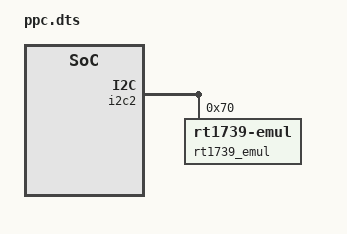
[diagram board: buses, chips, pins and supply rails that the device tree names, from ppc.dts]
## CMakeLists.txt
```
# Copyright 2023 The ChromiumOS Authors
# Use of this source code is governed by a BSD-style license that can be
# found in the LICENSE file.

# Add source files
target_sources(app PRIVATE src/ppc.c)
```

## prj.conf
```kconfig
# Copyright 2023 The ChromiumOS Authors
# Use of this source code is governed by a BSD-style license that can be
# found in the LICENSE file.

CONFIG_PLATFORM_EC_USB_PD_VBUS_DETECT_PPC=y
```

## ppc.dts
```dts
/* Copyright 2023 The ChromiumOS Authors
 * Use of this source code is governed by a BSD-style license that can be
 * found in the LICENSE file.
 */

/ {
	usbc {
		port0@0 {
			compatible = "named-usbc-port";
			bc12 = <&rt1739_emul>;
			ppc = <&rt1739_emul>;
		};
	};
};

&i2c2 {
	status="okay";

	rt1739_emul: rt1739@70 {
		compatible = "zephyr,rt1739-emul", "richtek,rt1739-ppc";
		status = "okay";
		reg = <0x70>;
	};
};
```

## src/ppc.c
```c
/* Copyright 2023 The ChromiumOS Authors
 * Use of this source code is governed by a BSD-style license that can be
 * found in the LICENSE file.
 */

#include "driver/ppc/rt1739.h"
#include "emul/emul_rt1739.h"
#include "test/drivers/test_state.h"

#include <zephyr/fff.h>
#include <zephyr/ztest.h>

FAKE_VOID_FUNC(pd_got_frs_signal, int);

#define FFF_FAKES_LIST(FAKE) FAKE(pd_got_frs_signal)

#define RT1739_PORT 0
#define RT1739_NODE DT_NODELABEL(rt1739_emul)

extern int rt1739_get_flag(int port);

const struct emul *rt1739_emul = EMUL_DT_GET(RT1739_NODE);

static struct rt1739_set_reg_entry_t *
get_next_reg_set_entry(struct _snode **iter_node, uint8_t target_reg)
{
	struct rt1739_set_reg_entry_t *iter_entry = NULL;

	while (iter_node != NULL) {
		iter_entry = SYS_SLIST_CONTAINER(*iter_node, iter_entry, node);
		if (iter_entry->reg == target_reg) {
			return iter_entry;
		}
		*iter_node = (*iter_node)->next;
	}
	return NULL;
}

static void test_next_set_entry(struct _snode **iter_node,
				uint8_t expected_reg_address,
				uint8_t expected_val)
{
	struct rt1739_set_reg_entry_t *entry = NULL;

	*iter_node = (*iter_node)->next;
	zassert_not_null(*iter_node);

	entry = SYS_SLIST_CONTAINER(*iter_node, entry, node);
	zassert_equal(entry->reg, expected_reg_address);
	zassert_equal(entry->val, expected_val);
}

static void test_frs_enable_reg_settings(bool expected_enabled)
{
	uint8_t frs_ctrl1_val, int_mask5_val, int_mask4_val;

	zassert_ok(rt1739_emul_peek_reg(rt1739_emul, RT1739_REG_CC_FRS_CTRL1,
					&frs_ctrl1_val));
	zassert_ok(rt1739_emul_peek_reg(rt1739_emul, RT1739_REG_INT_MASK5,
					&int_mask5_val));
	zassert_ok(rt1739_emul_peek_reg(rt1739_emul, RT1739_REG_INT_MASK4,
					&int_mask4_val));

	if (expected_enabled) {
		zassert_true(frs_ctrl1_val & RT1739_FRS_RX_EN);
		zassert_false(int_mask5_val & RT1739_BC12_SNK_DONE_MASK);
		zassert_true(int_mask4_val & RT1739_FRS_RX_MASK);
	} else {
		zassert_false(frs_ctrl1_val & RT1739_FRS_RX_EN);
		zassert_true(int_mask5_val & RT1739_BC12_SNK_DONE_MASK);
		zassert_false(int_mask4_val & RT1739_FRS_RX_MASK);
	}
}

static void test_vconn_enable_reg_settings(bool expected_enabled)
{
	uint8_t val;

	zassert_ok(rt1739_emul_peek_reg(rt1739_emul, RT1739_REG_VCONN_CTRL1,
					&val));

	if (expected_enabled) {
		zassert_true(val & RT1739_VCONN_EN);
	} else {
		zassert_false(val & RT1739_VCONN_EN);
	}
}

static void test_polarity_reg_settings(int expected_polarity)
{
	uint8_t val;

	zassert_ok(rt1739_emul_peek_reg(rt1739_emul, RT1739_REG_VCONN_CTRL1,
					&val));

	if (expected_polarity) {
		zassert_true(val & RT1739_VCONN_ORIENT);
	} else {
		zassert_false(val & RT1739_VCONN_ORIENT);
	}
}

static void test_set_vbus_source_current_limit(enum tcpc_rp_value expected_rp)
{
	uint8_t val;

	zassert_ok(rt1739_emul_peek_reg(rt1739_emul, RT1739_REG_VBUS_OC_SETTING,
					&val));

	switch (expected_rp) {
	case TYPEC_RP_3A0:
		zassert_equal(val & RT1739_LV_SRC_OCP_MASK,
			      RT1739_LV_SRC_OCP_SEL_3_3A);
		break;
	case TYPEC_RP_1A5:
		zassert_equal(val & RT1739_LV_SRC_OCP_MASK,
			      RT1739_LV_SRC_OCP_SEL_1_75A);
		break;
	default:
		zassert_equal(val & RT1739_LV_SRC_OCP_MASK,
			      RT1739_LV_SRC_OCP_SEL_1_25A);
		break;
	}
}

static void test_vbus_source_enable_reg_settings(bool expected_enabled)
{
	uint8_t val;

	zassert_ok(rt1739_emul_peek_reg(rt1739_emul,
					RT1739_REG_VBUS_SWITCH_CTRL, &val));

	if (expected_enabled) {
		zassert_true(val & RT1739_LV_SRC_EN);
	} else {
		zassert_false(val & RT1739_LV_SRC_EN);
	}
}

static void rt1739_test_before(void *data)
{
	FFF_FAKES_LIST(RESET_FAKE);
	FFF_RESET_HISTORY();
}

static void test_vbus_sink_enable_reg_settings(bool expected_enabled)
{
	uint8_t val;

	zassert_ok(rt1739_emul_peek_reg(rt1739_emul,
					RT1739_REG_VBUS_SWITCH_CTRL, &val));

	if (expected_enabled) {
		zassert_true(val & RT1739_HV_SNK_EN);
	} else {
		zassert_false(val & RT1739_HV_SNK_EN);
	}
}

ZTEST_SUITE(rt1739_ppc, drivers_predicate_pre_main, NULL, rt1739_test_before,
	    NULL, NULL);

ZTEST(rt1739_ppc, test_init_common_settings)
{
	uint8_t val;

	rt1739_emul_write_reg(rt1739_emul, RT1739_REG_DEVICE_ID0,
			      RT1739_DEVICE_ID_ES4);

	rt1739_ppc_drv.init(RT1739_PORT);

	/* Check is frs is set to disabled */
	test_frs_enable_reg_settings(false);

	/* vconn is set to disabled */
	test_vconn_enable_reg_settings(false);

	zassert_ok(rt1739_emul_peek_reg(rt1739_emul, RT1739_REG_VBUS_DET_EN,
					&val));
	zassert_true(val & RT1739_VBUS_PRESENT_EN);

	zassert_ok(rt1739_emul_peek_reg(rt1739_emul, RT1739_REG_SBU_CTRL_01,
					&val));
	zassert_equal(val & (RT1739_DM_SWEN | RT1739_DP_SWEN |
			     RT1739_SBUSW_MUX_SEL),
		      RT1739_DM_SWEN | RT1739_DP_SWEN);

	/* Check is VBUS OVP set to 23V */
	zassert_ok(rt1739_emul_peek_reg(rt1739_emul, RT1739_REG_VBUS_OV_SETTING,
					&val));
	zassert_equal(val, (RT1739_OVP_SEL_23_0V << RT1739_VBUS_OVP_SEL_SHIFT) |
				   (RT1739_OVP_SEL_23_0V
				    << RT1739_VIN_HV_OVP_SEL_SHIFT));

	/* Check is VBUS OCP set to 3.3A */
	zassert_ok(rt1739_emul_peek_reg(rt1739_emul, RT1739_REG_VBUS_OC_SETTING,
					&val));
	zassert_equal(val, RT1739_HV_SINK_OCP_SEL_3_3A |
				   RT1739_OCP_TIMEOUT_SEL_16MS |
				   RT1739_LV_SRC_OCP_SEL_1_75A);
}

ZTEST(rt1739_ppc, test_init_with_dead_battery)
{
	struct _snode *iter_node = NULL;
	struct rt1739_set_reg_entry_t *set_sys_ctrl = NULL;
	struct rt1739_set_reg_entry_t *set_vbus_switch_ctrl = NULL;

	rt1739_emul_write_reg(rt1739_emul, RT1739_REG_SYS_CTRL,
			      RT1739_DEAD_BATTERY);
	rt1739_emul_reset_set_reg_history(rt1739_emul);

	rt1739_ppc_drv.init(RT1739_PORT);

	/*
	 * Check is dead battery boot settings in b/267412033#comment6 is
	 * applied.
	 */
	iter_node = rt1739_emul_get_reg_set_history_head(rt1739_emul);
	set_sys_ctrl = get_next_reg_set_entry(&iter_node, RT1739_REG_SYS_CTRL);
	zassert_not_null(set_sys_ctrl,
			 "No entry for setting  RT1739_REG_SYS_CTRL");
	zassert_equal(set_sys_ctrl->val,
		      RT1739_DEAD_BATTERY | RT1739_SHUTDOWN_OFF);

	set_vbus_switch_ctrl =
		get_next_reg_set_entry(&iter_node, RT1739_REG_VBUS_SWITCH_CTRL);
	zassert_not_null(set_vbus_switch_ctrl,
			 "No entry for setting RT1739_REG_VBUS_SWITCH_CTRL");
	zassert_true((set_vbus_switch_ctrl->val & RT1739_HV_SNK_EN),
		     "sink not enabled");

	set_sys_ctrl = get_next_reg_set_entry(&iter_node, RT1739_REG_SYS_CTRL);
	zassert_not_null(
		set_sys_ctrl,
		"No entry for setting  RT1739_REG_SYS_CTRL after enabling sink");
	zassert_equal(set_sys_ctrl->val, RT1739_OT_EN | RT1739_SHUTDOWN_OFF);
}

ZTEST(rt1739_ppc, test_init_not_dead_battery)
{
	struct _snode *iter_node = NULL;
	struct rt1739_set_reg_entry_t *set_vbus_switch_ctrl = NULL;

	rt1739_emul_write_reg(rt1739_emul, RT1739_REG_VBUS_SWITCH_CTRL,
			      ~RT1739_HV_SNK_EN);
	rt1739_emul_reset_set_reg_history(rt1739_emul);

	rt1739_ppc_drv.init(RT1739_PORT);

	/*
	 * b/275294155: check is only vbus reset.
	 */
	iter_node = rt1739_emul_get_reg_set_history_head(rt1739_emul);
	set_vbus_switch_ctrl =
		get_next_reg_set_entry(&iter_node, RT1739_REG_VBUS_SWITCH_CTRL);
	zassert_not_null(set_vbus_switch_ctrl,
			 "No entry for setting RT1739_REG_VBUS_SWITCH_CTRL");
	zassert_equal(set_vbus_switch_ctrl->val, 0);
}

ZTEST(rt1739_ppc, test_es1_specific_init)
{
	uint8_t val;

	rt1739_emul_write_reg(rt1739_emul, RT1739_REG_DEVICE_ID0,
			      RT1739_DEVICE_ID_ES1);

	rt1739_ppc_drv.init(RT1739_PORT);

	zassert_ok(
		rt1739_emul_peek_reg(rt1739_emul, RT1739_REG_SYS_CTRL1, &val));
	zassert_true(val & RT1739_OSC640K_FORCE_EN);

	zassert_ok(
		rt1739_emul_peek_reg(rt1739_emul, RT1739_VBUS_FAULT_DIS, &val));
	zassert_equal(val, RT1739_OVP_DISVBUS_EN | RT1739_UVLO_DISVBUS_EN |
				   RT1739_SCP_DISVBUS_EN |
				   RT1739_OCPS_DISVBUS_EN);

	zassert_ok(rt1739_emul_peek_reg(rt1739_emul, RT1739_REG_VCONN_CTRL3,
					&val));
	zassert_true(val & RT1739_VCONN_CLIMIT_EN);
}

ZTEST(rt1739_ppc, test_es2_specific_init)
{
	uint8_t val;
	struct _snode *iter_node = NULL;
	struct rt1739_set_reg_entry_t *hidden_mode_F1 = NULL;
	struct rt1739_set_reg_entry_t *vbus_switch_ctrl = NULL;
	int64_t vbus_switch_previous_set_time;

	rt1739_emul_write_reg(rt1739_emul, RT1739_REG_DEVICE_ID0,
			      RT1739_DEVICE_ID_ES2);
	rt1739_emul_reset_set_reg_history(rt1739_emul);

	rt1739_ppc_drv.init(RT1739_PORT);

	iter_node = rt1739_emul_get_reg_set_history_head(rt1739_emul);

	/* Enter hidden mode with correct sequence */
	hidden_mode_F1 = get_next_reg_set_entry(&iter_node, 0xF1);
	zassert_not_null(hidden_mode_F1);
	zassert_equal(hidden_mode_F1->val, 0x62);
	test_next_set_entry(&iter_node, 0xF0, 0x86);

	/* Check is next access is to disable SWENB */
	test_next_set_entry(&iter_node, 0xE0, 0x07);

	/* Next two accesses should be leaving the hidden mode */
	test_next_set_entry(&iter_node, 0xF1, 0x0);
	test_next_set_entry(&iter_node, 0xF0, 0x0);

	/* Next three accesses are VBUS to VIN_LV leakage remove setting */
	test_next_set_entry(&iter_node, RT1739_VBUS_FAULT_DIS, 0);
	test_next_set_entry(&iter_node, RT1739_REG_VBUS_CTRL1, 0);
	test_next_set_entry(&iter_node, RT1739_REG_VBUS_SWITCH_CTRL, 0);

	/*
	 * Check is accessing RT1739_REG_VBUS_SWITCH_CTRL is each time waiting
	 * more than 5 ms
	 */
	vbus_switch_ctrl =
		SYS_SLIST_CONTAINER(iter_node, vbus_switch_ctrl, node);
	vbus_switch_previous_set_time = vbus_switch_ctrl->access_time;
	test_next_set_entry(&iter_node, RT1739_REG_VBUS_SWITCH_CTRL,
			    RT1739_LV_SRC_EN);
	vbus_switch_ctrl =
		SYS_SLIST_CONTAINER(iter_node, vbus_switch_ctrl, node);
	zassert_true(vbus_switch_ctrl->access_time -
			     vbus_switch_previous_set_time >=
		     5);

	vbus_switch_previous_set_time = vbus_switch_ctrl->access_time;
	test_next_set_entry(&iter_node, RT1739_REG_VBUS_SWITCH_CTRL, 0);
	vbus_switch_ctrl =
		SYS_SLIST_CONTAINER(iter_node, vbus_switch_ctrl, node);
	zassert_true(vbus_switch_ctrl->access_time -
			     vbus_switch_previous_set_time >=
		     5);

	zassert_ok(
		rt1739_emul_peek_reg(rt1739_emul, RT1739_VBUS_FAULT_DIS, &val));
	zassert_equal(val, RT1739_OVP_DISVBUS_EN | RT1739_UVLO_DISVBUS_EN |
				   RT1739_RCP_DISVBUS_EN |
				   RT1739_SCP_DISVBUS_EN);

	zassert_ok(
		rt1739_emul_peek_reg(rt1739_emul, RT1739_REG_VBUS_CTRL1, &val));
	zassert_equal(val, RT1739_HVLV_SCP_EN | RT1739_HVLV_OCRC_EN);

	zassert_ok(rt1739_emul_peek_reg(rt1739_emul, RT1739_REG_VCONN_CTRL3,
					&val));
	zassert_true(val & RT1739_VCONN_CLIMIT_EN);
}

ZTEST(rt1739_ppc, test_es4_specific_init)
{
	uint8_t val;

	rt1739_emul_write_reg(rt1739_emul, RT1739_REG_DEVICE_ID0,
			      RT1739_DEVICE_ID_ES4);

	rt1739_ppc_drv.init(RT1739_PORT);

	zassert_ok(rt1739_emul_peek_reg(rt1739_emul, RT1739_REG_LVHVSW_OV_CTRL,
					&val));
	zassert_false(val & RT1739_OT_SEL_LVL);

	zassert_ok(rt1739_emul_peek_reg(rt1739_emul, RT1739_REG_VCONN_CTRL4,
					&val));
	zassert_equal(val & RT1739_VCONN_OCP_SEL_MASK,
		      RT1739_VCONN_OCP_SEL_600MA);

	zassert_ok(rt1739_emul_peek_reg(rt1739_emul, RT1739_REG_VCONN_CTRL3,
					&val));
	zassert_false(val & RT1739_VCONN_CLIMIT_EN);
}

ZTEST(rt1739_ppc, test_set_vbus_source_current_limit)
{
	rt1739_ppc_drv.set_vbus_source_current_limit(RT1739_PORT, TYPEC_RP_3A0);
	test_set_vbus_source_current_limit(TYPEC_RP_3A0);

	rt1739_ppc_drv.set_vbus_source_current_limit(RT1739_PORT, TYPEC_RP_1A5);
	test_set_vbus_source_current_limit(TYPEC_RP_1A5);

	rt1739_ppc_drv.set_vbus_source_current_limit(RT1739_PORT, TYPEC_RP_USB);
	test_set_vbus_source_current_limit(TYPEC_RP_USB);
}

ZTEST(rt1739_ppc, test_is_sourcing_vbus)
{
	rt1739_ppc_drv.vbus_source_enable(RT1739_PORT, true);
	zassert_true(rt1739_ppc_drv.is_sourcing_vbus(RT1739_PORT));

	rt1739_ppc_drv.vbus_source_enable(RT1739_PORT, false);
	zassert_false(rt1739_ppc_drv.is_sourcing_vbus(RT1739_PORT));
}

ZTEST(rt1739_ppc, test_vbus_sink_enable)
{
	rt1739_ppc_drv.vbus_sink_enable(RT1739_PORT, true);
	test_vbus_sink_enable_reg_settings(true);

	rt1739_ppc_drv.vbus_sink_enable(RT1739_PORT, false);
	test_vbus_sink_enable_reg_settings(false);
}

ZTEST(rt1739_ppc, test_vbus_source_enable)
{
	rt1739_ppc_drv.vbus_source_enable(RT1739_PORT, true);
	test_vbus_source_enable_reg_settings(true);

	rt1739_ppc_drv.vbus_source_enable(RT1739_PORT, false);
	test_vbus_source_enable_reg_settings(false);
}

ZTEST(rt1739_ppc, test_is_vbus_present)
{
	zassert_ok(rt1739_emul_write_reg(rt1739_emul, RT1739_REG_INT_STS4,
					 RT1739_VBUS_PRESENT));
	zassert_true(rt1739_ppc_drv.is_vbus_present(RT1739_PORT));

	zassert_ok(rt1739_emul_write_reg(rt1739_emul, RT1739_REG_INT_STS4, 0));
	zassert_false(rt1739_ppc_drv.is_vbus_present(RT1739_PORT));
}

ZTEST(rt1739_ppc, test_set_polarity)
{
	rt1739_ppc_drv.set_polarity(RT1739_PORT, 0);
	test_polarity_reg_settings(0);

	rt1739_ppc_drv.set_polarity(RT1739_PORT, 1);
	test_polarity_reg_settings(1);
}

ZTEST(rt1739_ppc, test_vconn_settings)
{
	rt1739_ppc_drv.set_vconn(RT1739_PORT, true);
	test_vconn_enable_reg_settings(true);

	rt1739_ppc_drv.set_vconn(RT1739_PORT, false);
	test_vconn_enable_reg_settings(false);
}

ZTEST(rt1739_ppc, test_frs_settings)
{
	rt1739_ppc_drv.set_frs_enable(RT1739_PORT, true);
	test_frs_enable_reg_settings(true);

	rt1739_ppc_drv.set_frs_enable(RT1739_PORT, false);
	test_frs_enable_reg_settings(false);
}

ZTEST(rt1739_ppc, test_interrupt)
{
	/* test FRS invoked */
	rt1739_ppc_drv.set_frs_enable(RT1739_PORT, true);
	zassert_equal(RT1739_FLAGS_FRS_ENABLED, rt1739_get_flag(RT1739_PORT));
	zassert_equal(0, pd_got_frs_signal_fake.call_count);
	rt1739_ppc_drv.interrupt(RT1739_PORT);
	zassert_equal(RT1739_FLAGS_FRS_ENABLED | RT1739_FLAGS_FRS_RX_RECV,
		      rt1739_get_flag(RT1739_PORT));
	zassert_equal(1, pd_got_frs_signal_fake.call_count);
	rt1739_ppc_drv.set_frs_enable(RT1739_PORT, false);

	/* test FRS invoked multiple times */
	zassert_equal(0, rt1739_get_flag(RT1739_PORT));
	rt1739_ppc_drv.set_frs_enable(RT1739_PORT, true);
	zassert_equal(RT1739_FLAGS_FRS_ENABLED, rt1739_get_flag(RT1739_PORT));

	rt1739_ppc_drv.interrupt(RT1739_PORT);
	zassert_equal(2, pd_got_frs_signal_fake.call_count);
	zassert_equal(RT1739_FLAGS_FRS_ENABLED | RT1739_FLAGS_FRS_RX_RECV,
		      rt1739_get_flag(RT1739_PORT));

	rt1739_ppc_drv.interrupt(RT1739_PORT);
	/* should not call pd_got_frs_signal when called */
	zassert_equal(2, pd_got_frs_signal_fake.call_count);
	rt1739_ppc_drv.set_frs_enable(RT1739_PORT, false);
	zassert_equal(0, rt1739_get_flag(RT1739_PORT));
}
```
